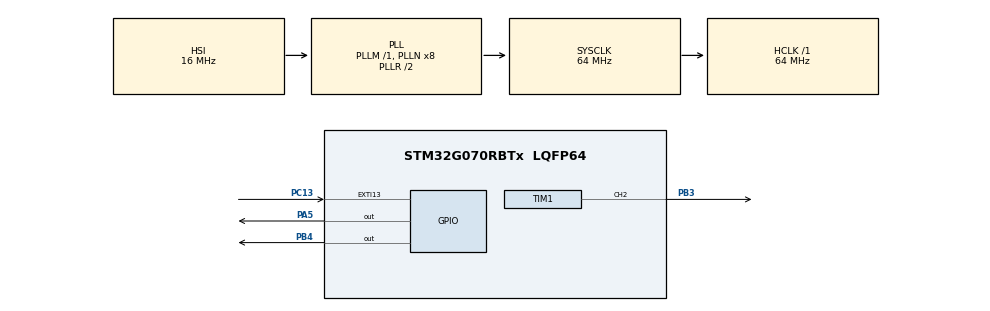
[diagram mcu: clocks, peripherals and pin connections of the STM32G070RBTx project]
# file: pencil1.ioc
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Mcu.Family=STM32G0
Mcu.Name=STM32G070RBTx
Mcu.Package=LQFP64
NVIC.EXTI4_15_IRQn=true\:0\:0\:false\:false\:true\:true\:true\:true
NVIC.TIM1_BRK_UP_TRG_COM_IRQn=true\:0\:0\:false\:false\:true\:true\:true\:true
PA5.Signal=GPIO_Output
PB3.Signal=S_TIM1_CH2
PB4.Signal=GPIO_Output
PC13.GPIO_ModeDefaultEXTI=GPIO_MODE_IT_FALLING
PC13.GPIO_PuPd=GPIO_PULLUP
PC13.Signal=GPXTI13
PF0-OSC_IN\ (PF0).Mode=HSE-External-Oscillator
PF0-OSC_IN\ (PF0).Signal=RCC_OSC_IN
PF1-OSC_OUT\ (PF1).Mode=HSE-External-Oscillator
PF1-OSC_OUT\ (PF1).Signal=RCC_OSC_OUT
ProjectManager.HeapSize=0x200
ProjectManager.StackSize=0x400
ProjectManager.TargetToolchain=MDK-ARM V5.32
RCC.ADCFreq_Value=64000000
RCC.AHBFreq_Value=64000000
RCC.CortexFreq_Value=64000000
RCC.EXTERNAL_CLOCK_VALUE=48000
RCC.HCLKFreq_Value=64000000
RCC.HSE_VALUE=8000000
RCC.HSI_VALUE=16000000
RCC.LSE_VALUE=32768
RCC.SYSCLKFreq_VALUE=64000000
RCC.SYSCLKSource=RCC_SYSCLKSOURCE_PLLCLK
RCC.VCOOutputFreq_Value=128000000
SH.S_TIM1_CH2.0=TIM1_CH2,PWM Generation2 CH2
TIM1.AutoReloadPreload=TIM_AUTORELOAD_PRELOAD_ENABLE
TIM1.Channel-PWM\ Generation2\ CH2=TIM_CHANNEL_2
TIM1.Period=1000-1
TIM1.Prescaler=64-1
TIM1.Pulse-PWM\ Generation2\ CH2=500
VP_TIM1_VS_ClockSourceINT.Mode=Internal
board=custom

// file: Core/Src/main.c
/* USER CODE BEGIN Header */
/**
  ******************************************************************************
  * @file           : main.c
  * @brief          : Main program body
  ******************************************************************************
  * @attention
  *
  * Copyright (c) 2026 STMicroelectronics.
  * All rights reserved.
  *
  * This software is licensed under terms that can be found in the LICENSE file
  * in the root directory of this software component.
  * If no LICENSE file comes with this software, it is provided AS-IS.
  *
  ******************************************************************************
  */
/* USER CODE END Header */
#include "main.h"
#include "tim.h"
#include "gpio.h"

/* USER CODE BEGIN PV */
typedef enum{
	TASK_IDLE = 0,
	TASK_RUNNING
}TaskState;

volatile TaskState keyTaskState = TASK_IDLE;
uint32_t i = 19999;
uint8_t j = 0;

/* USER CODE END PV */

void SystemClock_Config(void);

int main(void)
{

  /* MCU Configuration--------------------------------------------------------*/

  /* Reset of all peripherals, Initializes the Flash interface and the Systick. */
  HAL_Init();

  /* Configure the system clock */
  SystemClock_Config();

  /* Initialize all configured peripherals */
  MX_GPIO_Init();
  MX_TIM1_Init();
  /* USER CODE BEGIN 2 */
	__HAL_TIM_SET_AUTORELOAD(&htim1, i);
	HAL_GPIO_WritePin(GPIOB, GPIO_PIN_4, GPIO_PIN_SET);
	HAL_TIM_PWM_Start(&htim1, TIM_CHANNEL_2);

	HAL_GPIO_WritePin(GPIOA, GPIO_PIN_5, GPIO_PIN_SET);

  /* USER CODE END 2 */

  /* Infinite loop */
  while (1)
  {

    /* USER CODE BEGIN 3 */
		/*if (keyTaskState == TASK_RUNNING)
		{
			HAL_GPIO_TogglePin(GPIOA, GPIO_PIN_5);

			i -= 10000;
			__HAL_TIM_SET_AUTORELOAD(&htim1, i);

			keyTaskState = TASK_IDLE;
		}*/
		switch (j)
		{
			case 0:
				HAL_TIM_PWM_Stop(&htim1, TIM_CHANNEL_2);
				__HAL_TIM_SET_AUTORELOAD(&htim1, 19999);
				HAL_TIM_PWM_Start(&htim1, TIM_CHANNEL_2);
			break;

			case 1:
				HAL_TIM_PWM_Stop(&htim1, TIM_CHANNEL_2);
				__HAL_TIM_SET_AUTORELOAD(&htim1, 9999);
				HAL_TIM_PWM_Start(&htim1, TIM_CHANNEL_2);
			break;

			case 2:
				HAL_TIM_PWM_Stop(&htim1, TIM_CHANNEL_2);
				__HAL_TIM_SET_AUTORELOAD(&htim1, 4999);
				HAL_TIM_PWM_Start(&htim1, TIM_CHANNEL_2);
			break;

			case 3:
				HAL_TIM_PWM_Stop(&htim1, TIM_CHANNEL_2);
				__HAL_TIM_SET_AUTORELOAD(&htim1, 2499);
				HAL_TIM_PWM_Start(&htim1, TIM_CHANNEL_2);
			break;
		}
	}
  /* USER CODE END 3 */
}

void SystemClock_Config(void)
{
  RCC_OscInitTypeDef RCC_OscInitStruct = {0};
  RCC_ClkInitTypeDef RCC_ClkInitStruct = {0};

  /** Configure the main internal regulator output voltage
  */
  HAL_PWREx_ControlVoltageScaling(PWR_REGULATOR_VOLTAGE_SCALE1);

  /** Initializes the RCC Oscillators according to the specified parameters
  * in the RCC_OscInitTypeDef structure.
  */
  RCC_OscInitStruct.OscillatorType = RCC_OSCILLATORTYPE_HSI;
  RCC_OscInitStruct.HSIState = RCC_HSI_ON;
  RCC_OscInitStruct.HSIDiv = RCC_HSI_DIV1;
  RCC_OscInitStruct.HSICalibrationValue = RCC_HSICALIBRATION_DEFAULT;
  RCC_OscInitStruct.PLL.PLLState = RCC_PLL_ON;
  RCC_OscInitStruct.PLL.PLLSource = RCC_PLLSOURCE_HSI;
  RCC_OscInitStruct.PLL.PLLM = RCC_PLLM_DIV1;
  RCC_OscInitStruct.PLL.PLLN = 8;
  RCC_OscInitStruct.PLL.PLLP = RCC_PLLP_DIV2;
  RCC_OscInitStruct.PLL.PLLR = RCC_PLLR_DIV2;
  if (HAL_RCC_OscConfig(&RCC_OscInitStruct) != HAL_OK)
  {
    Error_Handler();
  }

  /** Initializes the CPU, AHB and APB buses clocks
  */
  RCC_ClkInitStruct.ClockType = RCC_CLOCKTYPE_HCLK|RCC_CLOCKTYPE_SYSCLK
                              |RCC_CLOCKTYPE_PCLK1;
  RCC_ClkInitStruct.SYSCLKSource = RCC_SYSCLKSOURCE_PLLCLK;
  RCC_ClkInitStruct.AHBCLKDivider = RCC_SYSCLK_DIV1;
  RCC_ClkInitStruct.APB1CLKDivider = RCC_HCLK_DIV1;

  if (HAL_RCC_ClockConfig(&RCC_ClkInitStruct, FLASH_LATENCY_2) != HAL_OK)
  {
    Error_Handler();
  }
}

/* USER CODE BEGIN 4 */
void HAL_GPIO_EXTI_Falling_Callback(uint16_t GPIO_Pin)
{
    if (GPIO_Pin == GPIO_PIN_13)
    {
      //keyTaskState = TASK_RUNNING;
			j++;
			if (j == 4)
			{
				HAL_GPIO_TogglePin(GPIOA, GPIO_PIN_5);
				j = 0;
			}
    }
}

/* USER CODE END 4 */

void Error_Handler(void)
{
  __disable_irq();
  while (1)
  {
  }
}
